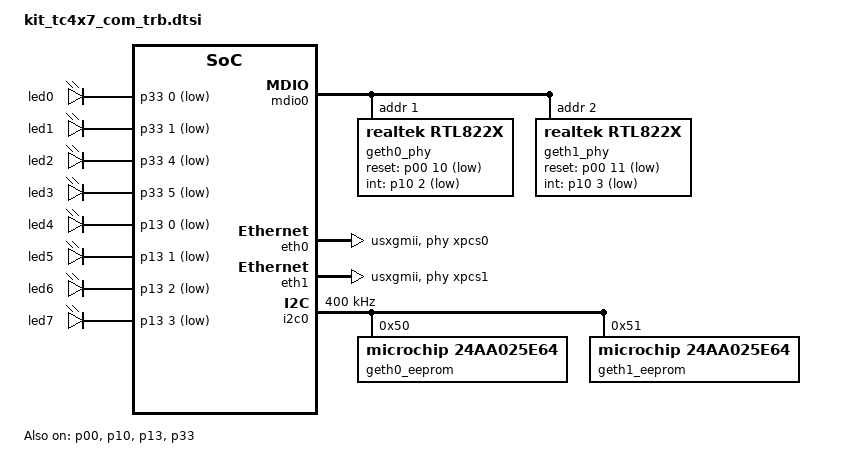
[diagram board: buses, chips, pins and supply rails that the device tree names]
/* Copyright (c) 2024 Infineon Technologies AG
 *
 * SPDX-License-Identifier: Apache-2.0
 */

#include "kit_tc4x7_com_trb-pinctrl.dtsi"
#include <infineon/tc4xx/tc4x7_com-gpio_irq.h>
#include <zephyr/dt-bindings/i2c/i2c.h>

/ {
	leds: leds {
		compatible = "gpio-leds";
		led0: led_0 {
			gpios = <&p33 0 GPIO_ACTIVE_LOW>;
		};
		led1: led_1 {
			gpios = <&p33 1 GPIO_ACTIVE_LOW>;
		};
		led2: led_2 {
			gpios = <&p33 4 GPIO_ACTIVE_LOW>;
		};
		led3: led_3 {
			gpios = <&p33 5 GPIO_ACTIVE_LOW>;
		};
		led4: led_4 {
			gpios = <&p13 0 GPIO_ACTIVE_LOW>;
		};
		led5: led_5 {
			gpios = <&p13 1 GPIO_ACTIVE_LOW>;
		};
		led6: led_6 {
			gpios = <&p13 2 GPIO_ACTIVE_LOW>;
		};
		led7: led_7 {
			gpios = <&p13 3 GPIO_ACTIVE_LOW>;
		};
	};

	aliases {
		led0 = &led0;
	};
};

&p00 {
	status = "okay";
};
&p10 {
	status = "okay";
	irq-sources = <GPIO_P10_2_IRQ_TIM0_2>, <GPIO_P10_3_IRQ_TIM1_3>;
};
&p13 {
	status = "okay";
};
&p33 {
	status = "okay";
};

&uart0 {
	pinctrl-0 = <&uart0_default>;
	pinctrl-names = "default";
};

&mdio0 {
	pinctrl-0 = <&geth0_p0_mdio>;
	pinctrl-names = "default";
	geth0_phy: phy@1 {
		compatible = "realtek,rtl822x";
		reg = <1>;
		reset-gpios = <&p00 10 GPIO_ACTIVE_LOW>;
		int-gpios = <&p10 2 GPIO_ACTIVE_LOW>;
		realtek,serdes-interface = "2500Base-X+SGMII";
		realtek,serdes-auto-negotiation;
	};
	geth1_phy: phy@2 {
		compatible = "realtek,rtl822x";
		reg = <2>;
		reset-gpios = <&p00 11 GPIO_ACTIVE_LOW>;
		int-gpios = <&p10 3 GPIO_ACTIVE_LOW>;
		realtek,serdes-interface = "2500Base-X+SGMII";
		realtek,serdes-auto-negotiation;
	};
};

&xpcs0 {
	phy-handle = <&geth0_phy>;
};
&xpcs1 {
	phy-handle = <&geth1_phy>;
};

&eth0 {
	phy-handle = <&xpcs0>;
	phy-connection-type = "usxgmii";
};
&eth1 {
	phy-handle = <&xpcs1>;
	phy-connection-type = "usxgmii";
};

&mdio5 {
	pinctrl-0 = <&geth0_p1_mdio>;
	pinctrl-names = "default";
};

&i2c0 {
	pinctrl-0 = <&eeprom_i2c>;
	pinctrl-names = "default";
	clock-frequency = <I2C_BITRATE_FAST>;

	geth0_eeprom: eeprom@50 {
		compatible = "microchip,24aa025e64", "atmel,at24";
		reg = <0x50>;
		size = <DT_SIZE_K(2)>;
		pagesize = <16>;
		address-width = <8>;
		timeout = <5>;
	};

	geth1_eeprom: eeprom@51 {
		compatible = "microchip,24aa025e64", "atmel,at24";
		reg = <0x51>;
		size = <DT_SIZE_K(2)>;
		pagesize = <16>;
		address-width = <8>;
		timeout = <5>;
	};
};

&fosc {
	clock-frequency = <DT_FREQ_M(25)>;
	status = "okay";
};

&sys_pll {
	p-div = <1>;
	n-div = <20>;
};

&per_pll {
	p-div = <1>;
	n-div = <32>;
};

&fpll0 {
	k-div = <1>;
	k-pre-div = "1.0";
};

&fpll1 {
	k-div = <5>;
	k-pre-div = "1.0";
};

&fpll2 {
	k-div = <2>;
	k-pre-div = "2.0";
};

&fpll3 {
	k-div = <1>;
	k-pre-div = "2.0";
};

&fpllppu {
	k-div = <1>;
	k-pre-div = "1.1";
};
